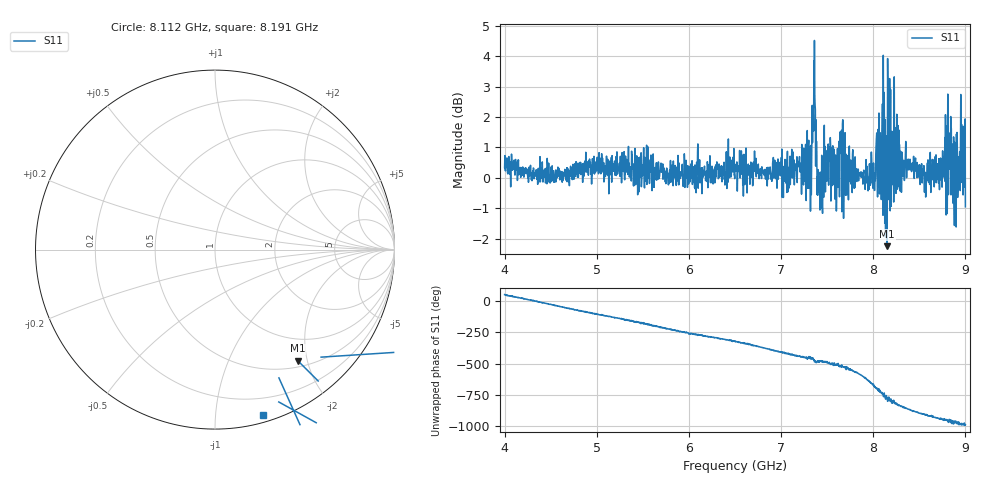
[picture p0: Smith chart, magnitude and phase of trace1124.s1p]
! Created with skrf 1.8.0 (http://scikit-rf.org).
# Hz S RI R 50.0
!freq ReS11 ImS11
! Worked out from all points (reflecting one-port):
!   1601 points, 4 GHz to 9 GHz, reference 50 ohm
!   lowest |S11| = -2.2 dB at 8.15 GHz (marker M1), VSWR 7.77, Z = 30 - j91.9 ohm
!   phase of S11 starts at 53 deg and turns -1042 deg over the sweep
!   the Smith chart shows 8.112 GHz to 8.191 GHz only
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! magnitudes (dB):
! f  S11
! 4 GHz  0.3
! 4.625 GHz  -0.1
! 5.25 GHz  0.1
! 5.875 GHz  0.1
! 6.5 GHz  0.3
! 7.125 GHz  0.1
! 7.297 GHz  1.1
! 7.328 GHz  -0.6
! 7.347 GHz  2.2
! 7.359 GHz  2.7
! 7.412 GHz  -0.3
! 7.512 GHz  1.1
! 7.609 GHz  0.4
! 7.65 GHz  1.1
! 7.75 GHz  -0.1
! 8 GHz  -0.4
! 8.081 GHz  1.0
! 8.097 GHz  1.7
! 8.15 GHz  -2.2
! 8.181 GHz  1.7
! 8.209 GHz  0.8
! 8.375 GHz  0.4
! 8.556 GHz  -0.5
! 8.725 GHz  0.2
! 8.831 GHz  0.4
! 8.875 GHz  1.0
! 8.972 GHz  0.0
! 9 GHz  -1.0
